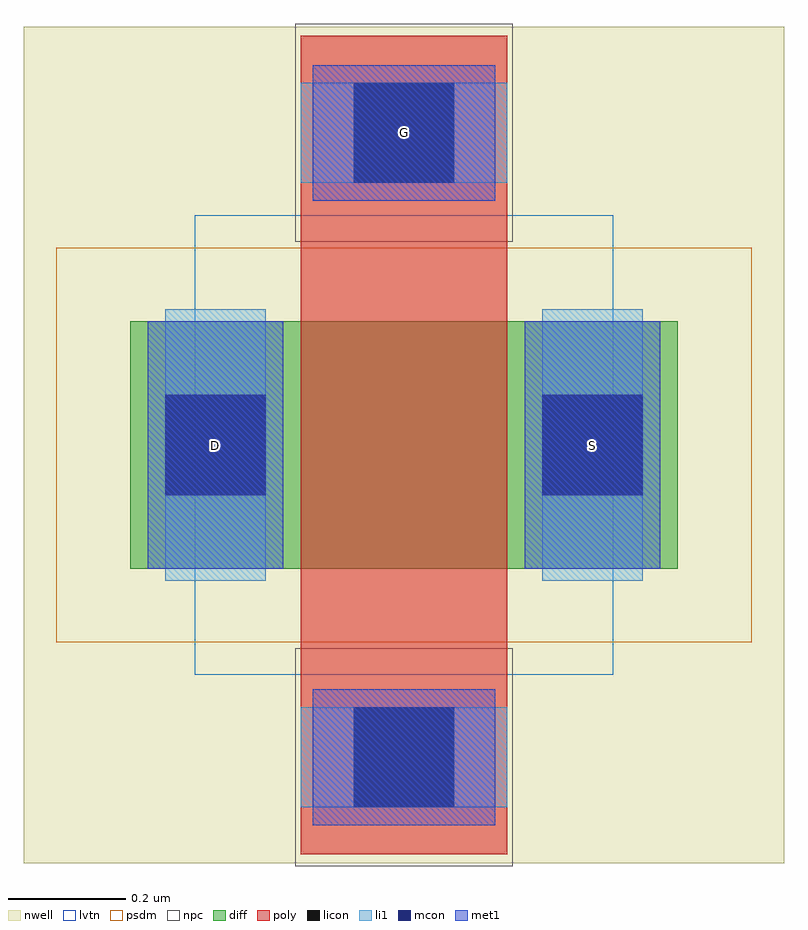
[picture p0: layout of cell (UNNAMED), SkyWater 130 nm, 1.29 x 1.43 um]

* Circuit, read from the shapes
.subckt (UNNAMED) D G S
XM1 S G D n1 sky130_fd_pr__pfet_01v8_lvt w=0.42 l=0.35
.ends

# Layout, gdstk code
import gdstk
lib = gdstk.Library(unit=1e-6, precision=1e-09)
def R(c, l, rs):  # rectangles x0, y0, x1, y1
    for r in rs: c.add(gdstk.rectangle(r[:2], r[2:], *l))
nwell = (64, 20)
diff = (65, 20)
poly = (66, 20)
licon = (66, 44)
li1 = (67, 20)
mcon = (67, 44)
met1 = (68, 20)
psdm = (94, 20)
npc = (95, 20)
lvtn = (125, 44)

c__unnamed_ = lib.new_cell('(UNNAMED)')
R(c__unnamed_, nwell, [(-0.645,-0.71,0.645,0.71)])
R(c__unnamed_, diff, [(-0.465,-0.21,0.465,0.21)])
R(c__unnamed_, poly, [(-0.175,-0.695,0.175,0.695)])
R(c__unnamed_, licon, [(-0.085,-0.615,0.085,-0.445), (-0.405,-0.085,-0.235,0.085), (0.235,-0.085,0.405,0.085), (-0.085,0.445,0.085,0.615)])
R(c__unnamed_, li1, [(-0.175,-0.615,0.175,-0.445), (-0.405,-0.23,-0.235,0.23), (0.235,-0.23,0.405,0.23), (-0.175,0.445,0.175,0.615)])
R(c__unnamed_, mcon, [(-0.085,-0.615,0.085,-0.445), (-0.405,-0.085,-0.235,0.085), (0.235,-0.085,0.405,0.085), (-0.085,0.445,0.085,0.615)])
R(c__unnamed_, met1, [(-0.155,-0.645,0.155,-0.415), (-0.435,-0.21,-0.205,0.21), (0.205,-0.21,0.435,0.21), (-0.155,0.415,0.155,0.645)])
R(c__unnamed_, psdm, [(-0.59,-0.335,0.59,0.335)])
R(c__unnamed_, npc, [(-0.185,-0.715,0.185,-0.345), (-0.185,0.345,0.185,0.715)])
R(c__unnamed_, lvtn, [(-0.355,-0.39,0.355,0.39)])
c__unnamed_.add(gdstk.Label('D', (-0.32,0), layer=67, texttype=5))
c__unnamed_.add(gdstk.Label('S', (0.32,0), layer=67, texttype=5))
c__unnamed_.add(gdstk.Label('G', (0,0.53), layer=67, texttype=5))

lib.write_gds('_UNNAMED_.gds')
